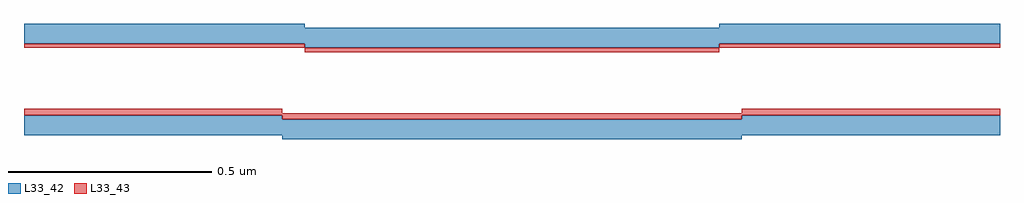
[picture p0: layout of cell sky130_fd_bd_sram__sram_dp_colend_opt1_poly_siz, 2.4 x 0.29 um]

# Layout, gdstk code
from math import pi, radians
import gdstk
lib = gdstk.Library(unit=1e-6, precision=1e-09)
def R(c, l, rs):  # rectangles x0, y0, x1, y1
    for r in rs: c.add(gdstk.rectangle(r[:2], r[2:], *l))
def P(c, l, *ps):  # polygons
    for p in ps: c.add(gdstk.Polygon(p, *l))
L33_42 = (33, 42)
L33_43 = (33, 43)

sky130_fd_bd_sram__sram_ = lib.new_cell('sky130_fd_bd_sram__sram_dp_cell_half_poly_siz_optd')
P(sky130_fd_bd_sram__sram_, L33_42, [(0.635,-0.075),(0.635,-0.065),(0,-0.065),(0,-0.015),(0.635,-0.015),(0.635,-0.025),(1.2,-0.025),(1.2,-0.075)])
P(sky130_fd_bd_sram__sram_, L33_43, [(0.635,-0.025),(0.635,-0.015),(0,-0.015),(0,0),(0.635,0),(0.635,-0.01),(1.2,-0.01),(1.2,-0.025)])

c_sky130_fd_bd_sram__sram_ = lib.new_cell('sky130_fd_bd_sram__sram_dp_cell_half_poly_siz_optc')
P(c_sky130_fd_bd_sram__sram_, L33_42, [(0.69,0),(0.69,0.01),(0,0.01),(0,0.06),(0.69,0.06),(0.69,0.05),(1.2,0.05),(1.2,0)])
R(c_sky130_fd_bd_sram__sram_, L33_43, [(0.69,-0.01,1.2,0), (0,0,0.69,0.01)])

c_sky130_fd_bd_sram__sram__ = lib.new_cell('sky130_fd_bd_sram__sram_dp_colend_opt1_poly_siz')
c_sky130_fd_bd_sram__sram__.add(gdstk.Reference(sky130_fd_bd_sram__sram_, (0,0.12)))
c_sky130_fd_bd_sram__sram__.add(gdstk.Reference(sky130_fd_bd_sram__sram_, (2.4,0.12), rotation=pi, x_reflection=True))
c_sky130_fd_bd_sram__sram__.add(gdstk.Reference(c_sky130_fd_bd_sram__sram_, (2.4,0.27), rotation=pi, x_reflection=True))
c_sky130_fd_bd_sram__sram__.add(gdstk.Reference(c_sky130_fd_bd_sram__sram_, (0,0.27)))

lib.write_gds('sky130_fd_bd_sram__sram_dp_colend_opt1_poly_siz.gds')
